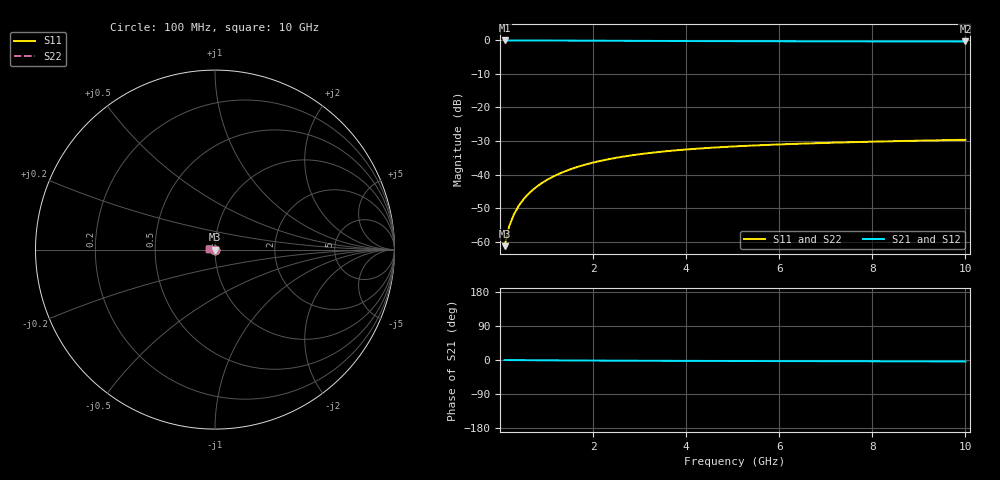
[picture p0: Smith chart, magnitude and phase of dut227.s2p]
! Touchstone file exported from HFSS 2024.1.0
!  File:  C:/UserFiles/LocalFiles/RDL_TSV_Batchsim/temp_TSV1_227_1779388422.aedt
!  Generated:  02:39:18 AM May 22, 2026
!  Design:  TSV1
!  Project:  temp_TSV1_227_1779388422
!  Setup:  Setup1
!  Solution:  Sweep
! Variables:
!  dtsv = 9.24um
!  hbump = 3um
!  htsv = 57.81um
!  lrdl = 252.1521522um
!  p = 40
!  p1 = 45.62um
!  t = 500um
!  trdl = 3um
!  wrdl = 24.89489489um
# GHz S MA R 50.000000
! Terminal data exported
! Port[1] = TSV22_T1
! Port[2] = TSV22_T2
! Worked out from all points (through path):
!   100 points, 100 MHz to 10 GHz, reference 50 ohm
!   highest |S21| = 0.00 dB at 100 MHz (marker M1); lowest = -0.3 dB at 10 GHz (marker M2)
!   lowest |S11| = -61.4 dB at 100 MHz (marker M3), VSWR 1.00, Z = 50 - j0.0845 ohm
!   |S11| at or under -10 dB: start of sweep to end of sweep
!   |S22| runs from -61.4 to -29.6 dB; largest |S21 - S12| = 2.2e-15
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0.1  0.0008532 -82.2  0.9998 -0.1  0.9998 -0.1  0.0008532 -82.2
! Gamma 0 0 0 0
! Port Impedance 50 0 50 0
0.2  0.001697 -88.4  0.9997 -0.2  0.9997 -0.2  0.001697 -88.4
0.3  0.002543 -91.8  0.9996 -0.3  0.9996 -0.3  0.002543 -91.8
0.4  0.003386 -94.4  0.9994 -0.4  0.9994 -0.4  0.003386 -94.4
0.5  0.004221 -96.6  0.9992 -0.4  0.9992 -0.4  0.004221 -96.6
0.6  0.005047 -98.7  0.9989 -0.5  0.9989 -0.5  0.005047 -98.7
0.7  0.005863 -100.6  0.9985 -0.6  0.9985 -0.6  0.005863 -100.6
0.8  0.006668 -102.5  0.9982 -0.7  0.9982 -0.7  0.006668 -102.5
0.9  0.007459 -104.4  0.9978 -0.8  0.9978 -0.8  0.007459 -104.4
1.1  0.008997 -107.9  0.9968 -0.9  0.9968 -0.9  0.008997 -107.9
1.4  0.01118 -112.9  0.9952 -1.1  0.9952 -1.1  0.01118 -112.9
1.6  0.01255 -116.1  0.994 -1.3  0.994 -1.3  0.01255 -116.1
1.8  0.01384 -119.1  0.9928 -1.4  0.9928 -1.4  0.01384 -119.1
2.1  0.01564 -123.4  0.9909 -1.6  0.9909 -1.6  0.01564 -123.4
2.5  0.01777 -128.8  0.9884 -1.8  0.9884 -1.8  0.01777 -128.8
2.9  0.01964 -133.7  0.9859 -2.0  0.9859 -2.0  0.01964 -133.7
3.4  0.02163 -139.3  0.9831 -2.1  0.9831 -2.1  0.02163 -139.3
4.2  0.02419 -147.0  0.9791 -2.4  0.9791 -2.4  0.02419 -147.0
5.1  0.02639 -154.4  0.9755 -2.7  0.9755 -2.7  0.02639 -154.4
6.7  0.0292 -165.0  0.9708 -3.1  0.9708 -3.1  0.0292 -165.0
8.4  0.03134 -174.0  0.9675 -3.5  0.9675 -3.5  0.03134 -174.0
10  0.03297 178.9  0.9654 -3.8  0.9654 -3.8  0.03297 178.9
